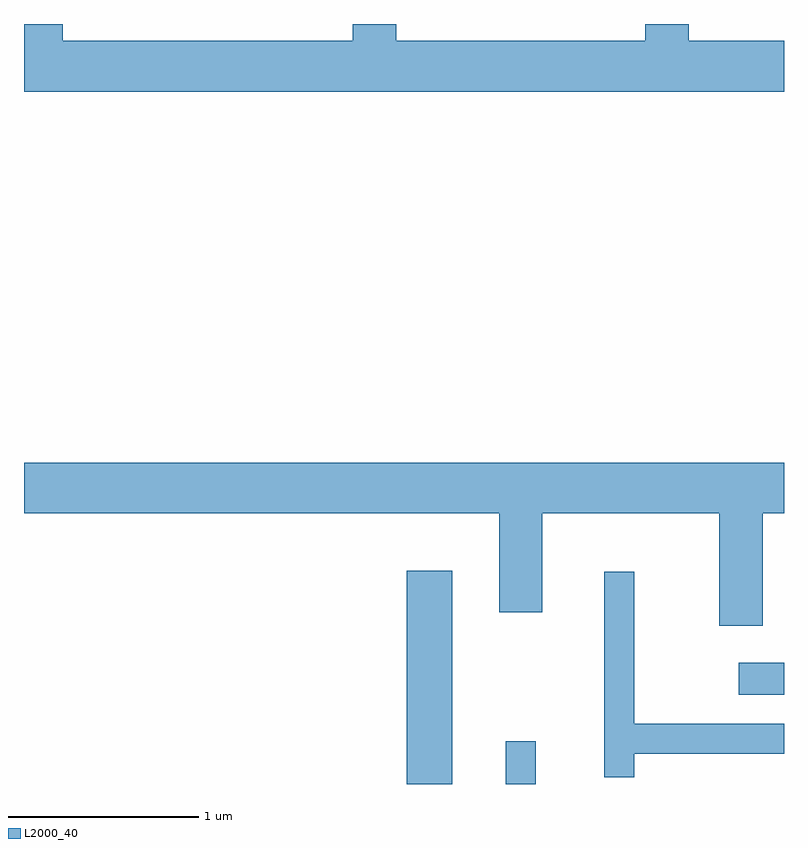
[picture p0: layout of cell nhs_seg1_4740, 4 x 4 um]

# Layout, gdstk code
import gdstk
lib = gdstk.Library(unit=1e-6, precision=1e-09)
def R(c, l, rs):  # rectangles x0, y0, x1, y1
    for r in rs: c.add(gdstk.rectangle(r[:2], r[2:], *l))
def P(c, l, *ps):  # polygons
    for p in ps: c.add(gdstk.Polygon(p, *l))
L2000_40 = (2000, 40)

nhs_seg1_4740 = lib.new_cell('nhs_seg1_4740')
R(nhs_seg1_4740, L2000_40, [(329.626,893.712,329.864,894.834), (330.146,893.712,330.304,893.938), (331.373,894.181,331.611,894.349)])
P(nhs_seg1_4740, L2000_40, [(331.611,897.624),(331.109,897.624),(331.109,897.712),(330.881,897.712),(330.881,897.624),(329.569,897.624),(329.569,897.712),(329.341,897.712),(329.341,897.624),(327.814,897.624),(327.814,897.712),(327.611,897.712),(327.611,897.356),(331.611,897.356)],
  [(331.499,895.136),(331.611,895.136),(331.611,895.404),(327.611,895.404),(327.611,895.136),(330.111,895.136),(330.111,894.616),(330.339,894.616),(330.339,895.136),(331.271,895.136),(331.271,894.546),(331.499,894.546)],
  [(330.824,893.871),(331.611,893.871),(331.611,894.029),(330.824,894.029),(330.824,894.828),(330.666,894.828),(330.666,893.748),(330.824,893.748)])

lib.write_gds('nhs_seg1_4740.gds')
